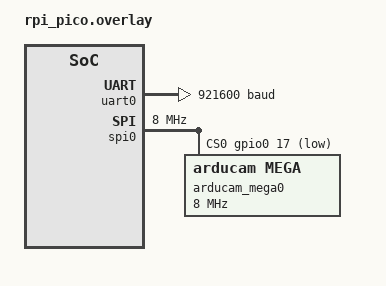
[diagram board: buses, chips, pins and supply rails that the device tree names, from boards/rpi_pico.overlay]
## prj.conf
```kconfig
CONFIG_LOG=y
CONFIG_SERIAL=y

CONFIG_SPI=y
CONFIG_VIDEO=y
CONFIG_VIDEO_INIT_PRIORITY=72
CONFIG_VIDEO_BUFFER_POOL_SZ_MAX=2048
CONFIG_VIDEO_BUFFER_POOL_NUM_MAX=2
CONFIG_VIDEO_ARDUCAM_MEGA=y
```

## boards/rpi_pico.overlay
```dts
&uart0 {
    current-speed = <921600>;
};

&spi0 {
    clock-frequency = <8000000>;
    cs-gpios = <&gpio0 17 GPIO_ACTIVE_LOW>;
    arducam_mega0: arducam-mega0@0 {
        compatible = "arducam,mega";
        reg = <0>;
        spi-max-frequency = <8000000>;
        status = "okay";
    };
};
```

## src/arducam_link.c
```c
#include <zephyr/device.h>
#include <zephyr/kernel.h>

#include <zephyr/drivers/video.h>
// #include <zephyr/drivers/video/arducam_mega.h>

#include <zephyr/drivers/uart.h>

#define LOG_LEVEL CONFIG_LOG_DEFAULT_LEVEL
#include <zephyr/logging/log.h>
LOG_MODULE_REGISTER(arducam_link);

#include "arducam_link.h"
#include <arducam_mega.h>

const struct device *console;
const struct device *video;
struct video_buffer *vbuf;

uint8_t preview_on = 0;

void serial_cb(const struct device *dev, void *user_data);

int arducam_link_init(void)
{
	console = DEVICE_DT_GET(DT_CHOSEN(zephyr_console));
	if (!device_is_ready(console)) {
		LOG_ERR("%s: device not ready.", console->name);
		return -1;
	}
	uart_irq_callback_user_data_set(console, serial_cb, NULL);
	uart_irq_rx_enable(console);

	video = DEVICE_DT_GET(DT_NODELABEL(arducam_mega0));

	if (!device_is_ready(video)) {
		LOG_ERR("Video device %s not ready.", video->name);
		return -1;
	}

	/* Alloc video buffers and enqueue for capture */
	vbuf = video_buffer_alloc(1024);
	if (vbuf == NULL) {
		LOG_ERR("Unable to alloc video buffer");
		return -1;
	}

	LOG_INF("Mega star");

	printk("- Device name: %s\n", video->name);

	return 0;
}

uint32_t pixel_format_conversion_table[] = {
	VIDEO_PIX_FMT_JPEG,
	VIDEO_PIX_FMT_RGB565,
	VIDEO_PIX_FMT_YUYV,
};

uint16_t resolution_conversion_table[][2] = {
	{160, 120},  {320, 240},   {640, 480},   {800, 600},   {1280, 720},
	{1280, 960}, {1600, 1200}, {1920, 1080}, {2048, 1536}, {2592, 1944},
	{96, 96},    {128, 128},   {320, 320},
};

static uint8_t current_resoultion = 0x00;

int set_mega_resolution(uint8_t sfmt)
{
	uint8_t resoultion = sfmt & 0x0f;
	uint8_t pixelformat = (sfmt & 0x70) >> 4;
	uint8_t resoultion_num = sizeof(resolution_conversion_table) / (sizeof(uint16_t) * 2);

	if (resoultion > resoultion_num || pixelformat > 3) {
		return -1;
	}
	struct video_format fmt = {.width = resolution_conversion_table[resoultion][0],
				   .height = resolution_conversion_table[resoultion][1],
				   .pixelformat = pixel_format_conversion_table[pixelformat - 1]};
	current_resoultion = resoultion;
	return video_set_format(video, VIDEO_EP_OUT, &fmt);
}

void uart_buffer_send(const struct device *dev, uint8_t *buffer, uint32_t length)
{
	for (uint32_t i = 0; i < length; i++) {
		uart_poll_out(dev, buffer[i]);
	}
}

static uint8_t head_and_tail[] = {0xff, 0xaa, 0x00, 0xff, 0xbb};

void uart_packet_send(uint8_t type, uint8_t *buffer, uint32_t length)
{
	head_and_tail[2] = type;
	uart_buffer_send(console, &head_and_tail[0], 3);
	uart_buffer_send(console, (uint8_t *)&length, 4);
	uart_buffer_send(console, buffer, length);
	uart_buffer_send(console, &head_and_tail[3], 2);
}

int take_picture(void)
{
	uint32_t frame_len;
	if (video_set_ctrl(video, VIDEO_CID_ARDUCAM_CAPTURE, &frame_len)) {
		LOG_ERR("Unable to take picture!");
		return -1;
	}

	head_and_tail[2] = 0x01;
	uart_buffer_send(console, &head_and_tail[0], 3);
	uart_buffer_send(console, (uint8_t *)&frame_len, 4);
	uart_poll_out(console, ((current_resoultion & 0x0f) << 4) | 0x01);
	// LOG_INF("frame length %u",frame_len);
	while (frame_len > 0) {
		if (!video_get_ctrl(video, VIDEO_CID_ARDUCAM_CAPTURE, vbuf)) {
			uart_buffer_send(console, vbuf->buffer, vbuf->bytesused);
			// LOG_INF("read fifo :%u. - frame_len %u", vbuf->bytesused ,frame_len);
			frame_len -= vbuf->bytesused;
		}
		// k_msleep(1);
	}
	uart_buffer_send(console, &head_and_tail[3], 2);
	return 0;
}

int video_preview(void)
{
	static uint32_t recv_len = 0;
	if (preview_on) {
		if (recv_len) {
			if (!video_get_ctrl(video, VIDEO_CID_ARDUCAM_CAPTURE, vbuf)) {
				uart_buffer_send(console, vbuf->buffer, vbuf->bytesused);
				// LOG_INF("read fifo :%u. - frame_len %u", vbuf->bytesused
				// ,frame_len);
				recv_len -= vbuf->bytesused;
			}
		} else {
			uart_buffer_send(console, &head_and_tail[3], 2);
			if (video_set_ctrl(video, VIDEO_CID_ARDUCAM_CAPTURE, &recv_len)) {
				LOG_ERR("Unable to take picture!");
				return -1;
			}
			head_and_tail[2] = 0x01;
			uart_buffer_send(console, &head_and_tail[0], 3);
			uart_buffer_send(console, (uint8_t *)&recv_len, 4);
			uart_poll_out(console, ((current_resoultion & 0x0f) << 4) | 0x01);
		}
	}
	return 0;
}

int report_mega_info(void)
{
	char str_buf[400];
	uint32_t str_len;
	char *mega_type;
	struct arducam_mega_info mega_info;

	video_get_ctrl(video, VIDEO_CID_ARDUCAM_INFO, &mega_info);

	switch (mega_info.camera_id) {
	case ARDUMEGA_SENSOR_3MP_1:
	case ARDUMEGA_SENSOR_3MP_2:
		mega_type = "3MP";
		break;
	case ARDUMEGA_SENSOR_5MP_1:
		mega_type = "5MP";
		break;
	case ARDUMEGA_SENSOR_5MP_2:
		mega_type = "5MP_2";
		break;
	default:
		return -ENODEV;
	}

	sprintf(str_buf,
		"ReportCameraInfo\r\nCamera Type:%s\r\n"
		"Camera Support Resolution:%d\r\nCamera Support "
		"specialeffects:%d\r\nCamera Support Focus:%d\r\n"
		"Camera Exposure Value Max:%ld\r\nCamera Exposure Value "
		"Min:%d\r\nCamera Gain Value Max:%d\r\nCamera Gain Value "
		"Min:%d\r\nCamera Support Sharpness:%d\r\n",
		mega_type, mega_info.support_resoultion, mega_info.support_special_effects,
		mega_info.enable_focus, mega_info.exposure_value_max, mega_info.exposure_value_min,
		mega_info.gain_value_max, mega_info.gain_value_min, mega_info.enable_sharpness);
	str_len = strlen(str_buf);
	uart_packet_send(0x02, str_buf, str_len);
	return 0;
}

uint8_t cmd_process(uint8_t *buff)
{
	switch (buff[0]) {
	case SET_PICTURE_RESOLUTION: // Set Camera Resolution
		set_mega_resolution(buff[1]);
		break;
	case SET_VIDEO_RESOLUTION: // Set Video Resolution
		preview_on = 1;
		set_mega_resolution(buff[1] | 0x10);
		break;
	case SET_BRIGHTNESS: // Set brightness
		video_set_ctrl(video, VIDEO_CID_CAMERA_BRIGHTNESS, &buff[1]);
		break;
	case SET_CONTRAST: // Set Contrast
		video_set_ctrl(video, VIDEO_CID_CAMERA_CONTRAST, &buff[1]);
		break;
	case SET_SATURATION: // Set saturation
		video_set_ctrl(video, VIDEO_CID_CAMERA_SATURATION, &buff[1]);
		break;
	case SET_EV: // Set EV
		video_set_ctrl(video, VIDEO_CID_ARDUCAM_EV, &buff[1]);
		break;
	case SET_WHITEBALANCE: // Set White balance
		video_set_ctrl(video, VIDEO_CID_CAMERA_WHITE_BAL, &buff[1]);
		break;
	case SET_SPECIAL_EFFECTS: // Set Special effects
		video_set_ctrl(video, VIDEO_CID_ARDUCAM_COLOR_FX, &buff[1]);
		break;
	// case SET_FOCUS_CONTROL: // Focus Control
	//     setAutoFocus(camera, buff[1]);
	//     if (buff[1] == 0) {
	//         setAutoFocus(camera, 0x02);
	//     }
	//     break;
	case SET_EXPOSUREANDGAIN_ENABEL: // exposure and  Gain control
		video_set_ctrl(video, VIDEO_CID_ARDUCAM_AUTO_EXPOUTRE, &buff[1]);
		video_set_ctrl(video, VIDEO_CID_ARDUCAM_AUTO_GAIN, &buff[1]);
	case SET_WHILEBALANCE_ENABEL: // while balance control
		video_set_ctrl(video, VIDEO_CID_ARDUCAM_AUTO_WHILE_BAL, &buff[1]);
		break;
	case SET_SHARPNESS:
		video_set_ctrl(video, VIDEO_CID_ARDUCAM_SHARPNESS, &buff[1]);
		break;
	case SET_MANUAL_GAIN: // manual gain control
		uint16_t gain_value = (buff[1] << 8) | buff[2];
		video_set_ctrl(video, VIDEO_CID_CAMERA_GAIN, &gain_value);
		break;
	case SET_MANUAL_EXPOSURE: // manual exposure control
		uint32_t exposure_value = (buff[1] << 16) | (buff[2] << 8) | buff[3];
		video_set_ctrl(video, VIDEO_CID_CAMERA_EXPOSURE, &exposure_value);
		break;
	case GET_CAMERA_INFO: // Get Camera info
		report_mega_info();
		break;
	case TAKE_PICTURE:
		take_picture();
		break;
	case STOP_STREAM:
		preview_on = 0;
		uart_buffer_send(console, &head_and_tail[0], 3);
		break;
	// case GET_FRM_VER_INFO: // Get Firmware version info
	//     reportVerInfo(camera);
	//     break;
	// case GET_SDK_VER_INFO: // Get sdk version info
	//     reportSdkVerInfo(camera);
	//     break;
	case RESET_CAMERA:
		video_set_ctrl(video, VIDEO_CID_ARDUCAM_RESET, NULL);
		break;
	case SET_IMAGE_QUALITY:
		video_set_ctrl(video, VIDEO_CID_CAMERA_QUALITY, &buff[1]);
		break;
	case SET_LOWPOWER_MODE:
		video_set_ctrl(video, VIDEO_CID_ARDUCAM_LOWPOWER, &buff[1]);
		break;
	default:
		break;
	}

	return buff[0];
}

#define MSG_SIZE 12
/* queue to store up to 10 messages (aligned to 4-byte boundary) */
K_MSGQ_DEFINE(uart_msgq, MSG_SIZE, 10, 4);

uint8_t uart_available(uint8_t *p)
{
	return k_msgq_get(&uart_msgq, p, K_NO_WAIT);
}

uint8_t cmd_buffer[12] = {0};

void arducam_link_work(void)
{

	if (!uart_available(cmd_buffer)) {
		cmd_process(cmd_buffer);
	}
	video_preview();
	k_msleep(1);
}

/* receive buffer used in UART ISR callback */
static char rx_buf[MSG_SIZE];
static int rx_buf_pos;

/*
 * Read characters from UART until line end is detected. Afterwards push the
 * data to the message queue.
 */
void serial_cb(const struct device *dev, void *user_data)
{
	uint8_t c;

	if (!uart_irq_update(dev)) {
		return;
	}

	if (!uart_irq_rx_ready(dev)) {
		return;
	}

	/* read until FIFO empty */
	while (uart_fifo_read(dev, &c, 1) == 1) {
		if (c == 0xAA && rx_buf_pos > 0) {

			/* if queue is full, message is silently dropped */
			k_msgq_put(&uart_msgq, &rx_buf, K_NO_WAIT);

			/* reset the buffer (it was copied to the msgq) */
			rx_buf_pos = 0;
		} else if (c == 0x55) {
			rx_buf_pos = 0;
		} else {
			rx_buf[rx_buf_pos] = c;
			if (++rx_buf_pos >= MSG_SIZE) {
				rx_buf_pos = 0;
			}
		}
		/* else: characters beyond buffer size are dropped */
	}
}
```
